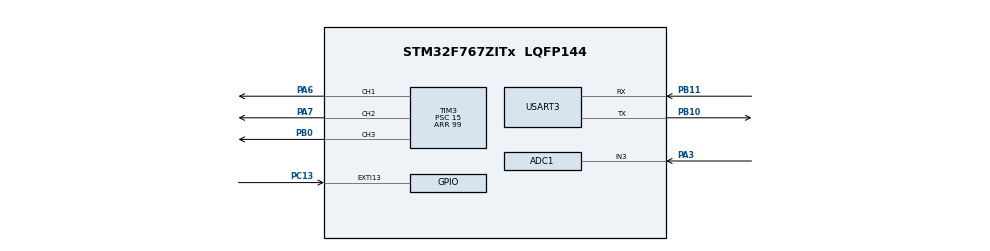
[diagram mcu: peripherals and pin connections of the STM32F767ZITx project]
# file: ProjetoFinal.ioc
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ADC1.Channel-0\#ChannelRegularConversion=ADC_CHANNEL_3
ADC1.NbrOfConversionFlag=1
ADC1.Rank-0\#ChannelRegularConversion=1
ADC1.SamplingTime-0\#ChannelRegularConversion=ADC_SAMPLETIME_3CYCLES
ADC1.master=1
CORTEX_M7.default_mode_Activation=1
Mcu.Family=STM32F7
Mcu.Name=STM32F767ZITx
Mcu.Package=LQFP144
NVIC.EXTI15_10_IRQn=true\:0\:0\:false\:false\:true\:true\:true\:true
NVIC.PriorityGroup=NVIC_PRIORITYGROUP_4
NVIC.TIM6_DAC_IRQn=true\:0\:0\:false\:false\:true\:true\:true\:true
NVIC.TIM7_IRQn=true\:0\:0\:false\:false\:true\:true\:true\:true
NVIC.USART3_IRQn=true\:0\:0\:false\:false\:true\:true\:true\:true
PA3.Signal=ADCx_IN3
PA6.Signal=S_TIM3_CH1
PA7.Signal=S_TIM3_CH2
PB0.Signal=S_TIM3_CH3
PB10.Mode=Asynchronous
PB10.Signal=USART3_TX
PB11.Mode=Asynchronous
PB11.Signal=USART3_RX
PC13.GPIO_ModeDefaultEXTI=GPIO_MODE_IT_FALLING
PC13.Signal=GPXTI13
ProjectManager.HeapSize=0x200
ProjectManager.StackSize=0x400
ProjectManager.TargetToolchain=STM32CubeIDE
RCC.HSE_VALUE=25000000
RCC.HSI_VALUE=16000000
RCC.LSE_VALUE=32768
RCC.USBFreq_Value=96000000
RCC.VCOOutputFreq_Value=192000000
SH.ADCx_IN3.0=ADC1_IN3,IN3
SH.S_TIM3_CH1.0=TIM3_CH1,PWM Generation1 CH1
SH.S_TIM3_CH2.0=TIM3_CH2,PWM Generation2 CH2
SH.S_TIM3_CH3.0=TIM3_CH3,PWM Generation3 CH3
TIM3.Channel-PWM\ Generation1\ CH1=TIM_CHANNEL_1
TIM3.Channel-PWM\ Generation2\ CH2=TIM_CHANNEL_2
TIM3.Channel-PWM\ Generation3\ CH3=TIM_CHANNEL_3
TIM3.Period=99
TIM3.Prescaler=15
TIM6.Period=49
TIM6.Prescaler=1599
TIM7.Period=299
TIM7.Prescaler=1599
USART3.VirtualMode-Asynchronous=VM_ASYNC
VP_TIM6_VS_ClockSourceINT.Mode=Enable_Timer
VP_TIM7_VS_ClockSourceINT.Mode=Enable_Timer
board=custom

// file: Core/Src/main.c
/* USER CODE BEGIN Header */
/**
  ******************************************************************************
  * @file           : main.c
  * @brief          : Main program body
  ******************************************************************************
  * @attention
  *
  * Copyright (c) 2026 STMicroelectronics.
  * All rights reserved.
  *
  * This software is licensed under terms that can be found in the LICENSE file
  * in the root directory of this software component.
  * If no LICENSE file comes with this software, it is provided AS-IS.
  *
  ******************************************************************************
  */
/* USER CODE END Header */
#include "main.h"

/* USER CODE BEGIN Includes */
#include <stdio.h>
#include "Bsp.h"
#include "Sampler.h"
#include "LedPwm.h"
#include "SerialCmd.h"
#include "Button.h"

/* USER CODE END Includes */

ADC_HandleTypeDef hadc1;

TIM_HandleTypeDef htim3;
TIM_HandleTypeDef htim6;
TIM_HandleTypeDef htim7;

UART_HandleTypeDef huart3;

void SystemClock_Config(void);
static void MPU_Config(void);
static void MX_GPIO_Init(void);
static void MX_ADC1_Init(void);
static void MX_TIM3_Init(void);
static void MX_TIM6_Init(void);
static void MX_TIM7_Init(void);
static void MX_USART3_UART_Init(void);

int main(void)
{

  /* MPU Configuration--------------------------------------------------------*/
  MPU_Config();

  /* MCU Configuration--------------------------------------------------------*/

  /* Reset of all peripherals, Initializes the Flash interface and the Systick. */
  HAL_Init();

  /* Configure the system clock */
  SystemClock_Config();

  /* Initialize all configured peripherals */
  MX_GPIO_Init();
  MX_ADC1_Init();
  MX_TIM3_Init();
  MX_TIM6_Init();
  MX_TIM7_Init();
  MX_USART3_UART_Init();
  /* USER CODE BEGIN 2 */
  Bsp_Init();
  Sampler_Init();
  LedPwm_Init();
  Button_Init();
  uint16_t windowCounter = 0;
  uint8_t lastFilteredPercent = 0;
  /* USER CODE END 2 */

  /* Infinite loop */
  /* USER CODE BEGIN WHILE */
  while (1)
  {
	  Button_Process();
	  SerialCmd_Process();

	  if (Bsp_IsSampleTimeFlagSet())
	  {
	      Bsp_ClearSampleTimeFlag();

	      if (Button_IsFrozen() == 0)
	      {
	          uint16_t rawAdc = Bsp_AdcReadRaw();
	          Sampler_AddSample(rawAdc);

	          if (Sampler_IsWindowComplete())
	          {
	              lastFilteredPercent = Sampler_ComputeFilteredPercent();
	              LedPwm_ApplyToSelected(lastFilteredPercent);

	              windowCounter++;
	              if (windowCounter >= 2)
	              {
	                  windowCounter = 0;
	                  char statusLine[64];
	                  const char *stateText = (Button_IsFrozen() != 0) ? "OFF" : "ON";
	                  snprintf(statusLine, 64,
	                      "VALUE: %u%% || LED1: %u%% aceso || LED2: %u%% aceso || LED3: %u%% aceso || STATE: %s\r\n",
	                      lastFilteredPercent,
	                      LedPwm_GetDuty(LEDPWM_LED_1),
	                      LedPwm_GetDuty(LEDPWM_LED_2),
	                      LedPwm_GetDuty(LEDPWM_LED_3),
	                      stateText);
	                  Bsp_UartPrint(statusLine);
	              }
	          }
	      }
	  }

    /* USER CODE END WHILE */

  }
}

void SystemClock_Config(void)
{
  RCC_OscInitTypeDef RCC_OscInitStruct = {0};
  RCC_ClkInitTypeDef RCC_ClkInitStruct = {0};

  /** Configure the main internal regulator output voltage
  */
  __HAL_RCC_PWR_CLK_ENABLE();
  __HAL_PWR_VOLTAGESCALING_CONFIG(PWR_REGULATOR_VOLTAGE_SCALE3);

  /** Initializes the RCC Oscillators according to the specified parameters
  * in the RCC_OscInitTypeDef structure.
  */
  RCC_OscInitStruct.OscillatorType = RCC_OSCILLATORTYPE_HSI;
  RCC_OscInitStruct.HSIState = RCC_HSI_ON;
  RCC_OscInitStruct.HSICalibrationValue = RCC_HSICALIBRATION_DEFAULT;
  RCC_OscInitStruct.PLL.PLLState = RCC_PLL_NONE;
  if (HAL_RCC_OscConfig(&RCC_OscInitStruct) != HAL_OK)
  {
    Error_Handler();
  }

  /** Initializes the CPU, AHB and APB buses clocks
  */
  RCC_ClkInitStruct.ClockType = RCC_CLOCKTYPE_HCLK|RCC_CLOCKTYPE_SYSCLK
                              |RCC_CLOCKTYPE_PCLK1|RCC_CLOCKTYPE_PCLK2;
  RCC_ClkInitStruct.SYSCLKSource = RCC_SYSCLKSOURCE_HSI;
  RCC_ClkInitStruct.AHBCLKDivider = RCC_SYSCLK_DIV1;
  RCC_ClkInitStruct.APB1CLKDivider = RCC_HCLK_DIV1;
  RCC_ClkInitStruct.APB2CLKDivider = RCC_HCLK_DIV1;

  if (HAL_RCC_ClockConfig(&RCC_ClkInitStruct, FLASH_LATENCY_0) != HAL_OK)
  {
    Error_Handler();
  }
}

static void MX_ADC1_Init(void)
{

  ADC_ChannelConfTypeDef sConfig = {0};

  /** Configure the global features of the ADC (Clock, Resolution, Data Alignment and number of conversion)
  */
  hadc1.Instance = ADC1;
  hadc1.Init.ClockPrescaler = ADC_CLOCK_SYNC_PCLK_DIV2;
  hadc1.Init.Resolution = ADC_RESOLUTION_12B;
  hadc1.Init.ScanConvMode = ADC_SCAN_DISABLE;
  hadc1.Init.ContinuousConvMode = DISABLE;
  hadc1.Init.DiscontinuousConvMode = DISABLE;
  hadc1.Init.ExternalTrigConvEdge = ADC_EXTERNALTRIGCONVEDGE_NONE;
  hadc1.Init.ExternalTrigConv = ADC_SOFTWARE_START;
  hadc1.Init.DataAlign = ADC_DATAALIGN_RIGHT;
  hadc1.Init.NbrOfConversion = 1;
  hadc1.Init.DMAContinuousRequests = DISABLE;
  hadc1.Init.EOCSelection = ADC_EOC_SINGLE_CONV;
  if (HAL_ADC_Init(&hadc1) != HAL_OK)
  {
    Error_Handler();
  }

  /** Configure for the selected ADC regular channel its corresponding rank in the sequencer and its sample time.
  */
  sConfig.Channel = ADC_CHANNEL_3;
  sConfig.Rank = ADC_REGULAR_RANK_1;
  sConfig.SamplingTime = ADC_SAMPLETIME_3CYCLES;
  if (HAL_ADC_ConfigChannel(&hadc1, &sConfig) != HAL_OK)
  {
    Error_Handler();
  }

}

static void MX_TIM3_Init(void)
{

  TIM_MasterConfigTypeDef sMasterConfig = {0};
  TIM_OC_InitTypeDef sConfigOC = {0};

  htim3.Instance = TIM3;
  htim3.Init.Prescaler = 15;
  htim3.Init.CounterMode = TIM_COUNTERMODE_UP;
  htim3.Init.Period = 99;
  htim3.Init.ClockDivision = TIM_CLOCKDIVISION_DIV1;
  htim3.Init.AutoReloadPreload = TIM_AUTORELOAD_PRELOAD_DISABLE;
  if (HAL_TIM_PWM_Init(&htim3) != HAL_OK)
  {
    Error_Handler();
  }
  sMasterConfig.MasterOutputTrigger = TIM_TRGO_RESET;
  sMasterConfig.MasterSlaveMode = TIM_MASTERSLAVEMODE_DISABLE;
  if (HAL_TIMEx_MasterConfigSynchronization(&htim3, &sMasterConfig) != HAL_OK)
  {
    Error_Handler();
  }
  sConfigOC.OCMode = TIM_OCMODE_PWM1;
  sConfigOC.Pulse = 0;
  sConfigOC.OCPolarity = TIM_OCPOLARITY_HIGH;
  sConfigOC.OCFastMode = TIM_OCFAST_DISABLE;
  if (HAL_TIM_PWM_ConfigChannel(&htim3, &sConfigOC, TIM_CHANNEL_1) != HAL_OK)
  {
    Error_Handler();
  }
  if (HAL_TIM_PWM_ConfigChannel(&htim3, &sConfigOC, TIM_CHANNEL_2) != HAL_OK)
  {
    Error_Handler();
  }
  if (HAL_TIM_PWM_ConfigChannel(&htim3, &sConfigOC, TIM_CHANNEL_3) != HAL_OK)
  {
    Error_Handler();
  }
  HAL_TIM_MspPostInit(&htim3);

}

static void MX_TIM6_Init(void)
{

  TIM_MasterConfigTypeDef sMasterConfig = {0};

  htim6.Instance = TIM6;
  htim6.Init.Prescaler = 1599;
  htim6.Init.CounterMode = TIM_COUNTERMODE_UP;
  htim6.Init.Period = 49;
  htim6.Init.AutoReloadPreload = TIM_AUTORELOAD_PRELOAD_DISABLE;
  if (HAL_TIM_Base_Init(&htim6) != HAL_OK)
  {
    Error_Handler();
  }
  sMasterConfig.MasterOutputTrigger = TIM_TRGO_RESET;
  sMasterConfig.MasterSlaveMode = TIM_MASTERSLAVEMODE_DISABLE;
  if (HAL_TIMEx_MasterConfigSynchronization(&htim6, &sMasterConfig) != HAL_OK)
  {
    Error_Handler();
  }

}

static void MX_TIM7_Init(void)
{

  TIM_MasterConfigTypeDef sMasterConfig = {0};

  htim7.Instance = TIM7;
  htim7.Init.Prescaler = 1599;
  htim7.Init.CounterMode = TIM_COUNTERMODE_UP;
  htim7.Init.Period = 299;
  htim7.Init.AutoReloadPreload = TIM_AUTORELOAD_PRELOAD_DISABLE;
  if (HAL_TIM_Base_Init(&htim7) != HAL_OK)
  {
    Error_Handler();
  }
  sMasterConfig.MasterOutputTrigger = TIM_TRGO_RESET;
  sMasterConfig.MasterSlaveMode = TIM_MASTERSLAVEMODE_DISABLE;
  if (HAL_TIMEx_MasterConfigSynchronization(&htim7, &sMasterConfig) != HAL_OK)
  {
    Error_Handler();
  }

}

static void MX_USART3_UART_Init(void)
{

  huart3.Instance = USART3;
  huart3.Init.BaudRate = 115200;
  huart3.Init.WordLength = UART_WORDLENGTH_8B;
  huart3.Init.StopBits = UART_STOPBITS_1;
  huart3.Init.Parity = UART_PARITY_NONE;
  huart3.Init.Mode = UART_MODE_TX_RX;
  huart3.Init.HwFlowCtl = UART_HWCONTROL_NONE;
  huart3.Init.OverSampling = UART_OVERSAMPLING_16;
  huart3.Init.OneBitSampling = UART_ONE_BIT_SAMPLE_DISABLE;
  huart3.AdvancedInit.AdvFeatureInit = UART_ADVFEATURE_NO_INIT;
  if (HAL_UART_Init(&huart3) != HAL_OK)
  {
    Error_Handler();
  }

}

static void MX_GPIO_Init(void)
{
  GPIO_InitTypeDef GPIO_InitStruct = {0};

  /* GPIO Ports Clock Enable */
  __HAL_RCC_GPIOC_CLK_ENABLE();
  __HAL_RCC_GPIOA_CLK_ENABLE();
  __HAL_RCC_GPIOB_CLK_ENABLE();

  /*Configure GPIO pin : PC13 */
  GPIO_InitStruct.Pin = GPIO_PIN_13;
  GPIO_InitStruct.Mode = GPIO_MODE_IT_FALLING;
  GPIO_InitStruct.Pull = GPIO_NOPULL;
  HAL_GPIO_Init(GPIOC, &GPIO_InitStruct);

  /* EXTI interrupt init*/
  HAL_NVIC_SetPriority(EXTI15_10_IRQn, 0, 0);
  HAL_NVIC_EnableIRQ(EXTI15_10_IRQn);

}

 /* MPU Configuration */

void MPU_Config(void)
{
  MPU_Region_InitTypeDef MPU_InitStruct = {0};

  /* Disables the MPU */
  HAL_MPU_Disable();

  /** Initializes and configures the Region and the memory to be protected
  */
  MPU_InitStruct.Enable = MPU_REGION_ENABLE;
  MPU_InitStruct.Number = MPU_REGION_NUMBER0;
  MPU_InitStruct.BaseAddress = 0x0;
  MPU_InitStruct.Size = MPU_REGION_SIZE_4GB;
  MPU_InitStruct.SubRegionDisable = 0x87;
  MPU_InitStruct.TypeExtField = MPU_TEX_LEVEL0;
  MPU_InitStruct.AccessPermission = MPU_REGION_NO_ACCESS;
  MPU_InitStruct.DisableExec = MPU_INSTRUCTION_ACCESS_DISABLE;
  MPU_InitStruct.IsShareable = MPU_ACCESS_SHAREABLE;
  MPU_InitStruct.IsCacheable = MPU_ACCESS_NOT_CACHEABLE;
  MPU_InitStruct.IsBufferable = MPU_ACCESS_NOT_BUFFERABLE;

  HAL_MPU_ConfigRegion(&MPU_InitStruct);
  /* Enables the MPU */
  HAL_MPU_Enable(MPU_PRIVILEGED_DEFAULT);

}

void Error_Handler(void)
{
  __disable_irq();
  while (1)
  {
  }
}
